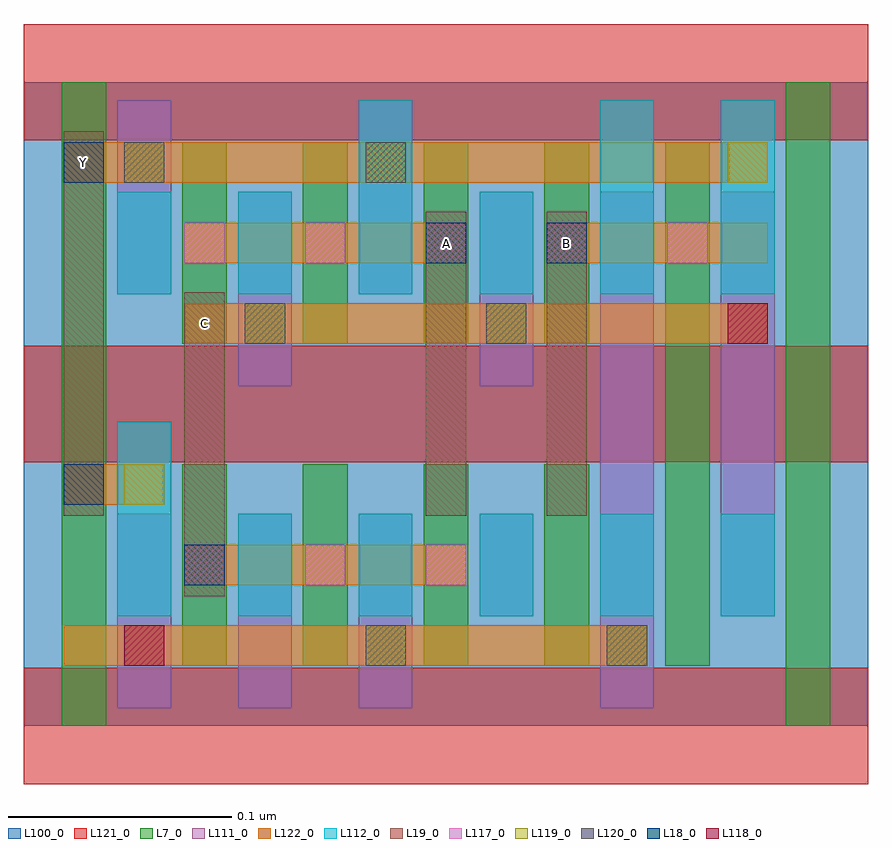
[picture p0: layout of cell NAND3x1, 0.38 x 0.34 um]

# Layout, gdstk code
import gdstk
lib = gdstk.Library(unit=1e-6, precision=2.5e-10)
def R(c, l, rs):  # rectangles x0, y0, x1, y1
    for r in rs: c.add(gdstk.rectangle(r[:2], r[2:], *l))
def A(c, l, x, y, w, h, nx, ny, dx, dy):  # array of equal rectangles
    R(c, l, [(x+i*dx, y+j*dy, x+i*dx+w, y+j*dy+h) for i in range(nx) for j in range(ny)])
L7_0 = (7, 0)
L18_0 = (18, 0)
L19_0 = (19, 0)
L100_0 = (100, 0)
L111_0 = (111, 0)
L112_0 = (112, 0)
L117_0 = (117, 0)
L118_0 = (118, 0)
L119_0 = (119, 0)
L120_0 = (120, 0)
L121_0 = (121, 0)
L122_0 = (122, 0)

nand3x1 = lib.new_cell('NAND3x1')
A(nand3x1, L7_0, 0.071, 0.027, 0.02, 0.09, 4, 2, 0.054, 0.144)
R(nand3x1, L7_0, [(0.017,0,0.037,0.144), (0.341,0,0.361,0.144), (0.287,0.027,0.307,0.144), (0.017,0.144,0.037,0.288), (0.287,0.144,0.307,0.261), (0.341,0.144,0.361,0.288)])
R(nand3x1, L18_0, [(0.072,0.063,0.09,0.081), (0.018,0.099,0.036,0.117), (0.18,0.207,0.198,0.225), (0.234,0.207,0.252,0.225), (0.018,0.243,0.036,0.261)])
R(nand3x1, L19_0, [(0.072,0.058,0.09,0.194), (0.018,0.094,0.036,0.266), (0.18,0.094,0.198,0.23), (0.234,0.094,0.252,0.23)])
R(nand3x1, L100_0, [(0,0,0.378,0.288)])
A(nand3x1, L111_0, 0.042, 0.008, 0.024, 0.087, 3, 1, 0.054, 0)
R(nand3x1, L111_0, [(0.258,0.008,0.282,0.144), (0.204,0.049,0.228,0.095), (0.312,0.049,0.336,0.144), (0.258,0.144,0.282,0.239), (0.312,0.144,0.336,0.239), (0.096,0.152,0.12,0.239), (0.204,0.152,0.228,0.239), (0.042,0.193,0.066,0.28), (0.15,0.193,0.174,0.28)])
A(nand3x1, L112_0, 0.096, 0.049, 0.024, 0.046, 5, 1, 0.054, 0)
R(nand3x1, L112_0, [(0.042,0.049,0.066,0.136), (0.042,0.193,0.066,0.239), (0.096,0.193,0.12,0.239), (0.15,0.193,0.174,0.28), (0.204,0.193,0.228,0.239), (0.258,0.193,0.282,0.28), (0.312,0.193,0.336,0.28)])
A(nand3x1, L117_0, 0.072, 0.063, 0.018, 0.018, 3, 1, 0.054, 0)
A(nand3x1, L117_0, 0.072, 0.207, 0.018, 0.018, 5, 1, 0.054, 0)
R(nand3x1, L118_0, [(0.045,0.027,0.063,0.045), (0.315,0.171,0.333,0.189)])
R(nand3x1, L119_0, [(0.153,0.027,0.171,0.045), (0.261,0.027,0.279,0.045), (0.045,0.099,0.063,0.117), (0.099,0.171,0.117,0.189), (0.207,0.171,0.225,0.189), (0.045,0.243,0.063,0.261), (0.153,0.243,0.171,0.261), (0.315,0.243,0.333,0.261)])
R(nand3x1, L120_0, [(0.153,0.027,0.171,0.045), (0.261,0.027,0.279,0.045), (0.099,0.171,0.117,0.189), (0.207,0.171,0.225,0.189), (0.045,0.243,0.063,0.261), (0.153,0.243,0.171,0.261)])
A(nand3x1, L121_0, 0, -0.026, 0.378, 0.052, 1, 3, 0, 0.144)
R(nand3x1, L122_0, [(0.018,0.027,0.279,0.045), (0.072,0.063,0.198,0.081), (0.018,0.099,0.063,0.117), (0.072,0.171,0.333,0.189), (0.072,0.207,0.198,0.225), (0.234,0.207,0.333,0.225), (0.018,0.243,0.333,0.261)])
nand3x1.add(gdstk.Label('Y', (0.027,0.252), layer=19, texttype=251))
nand3x1.add(gdstk.Label('C', (0.081,0.18), layer=19, texttype=251))
nand3x1.add(gdstk.Label('B', (0.243,0.216), layer=19, texttype=251))
nand3x1.add(gdstk.Label('A', (0.189,0.216), layer=19, texttype=251))

lib.write_gds('NAND3x1.gds')
